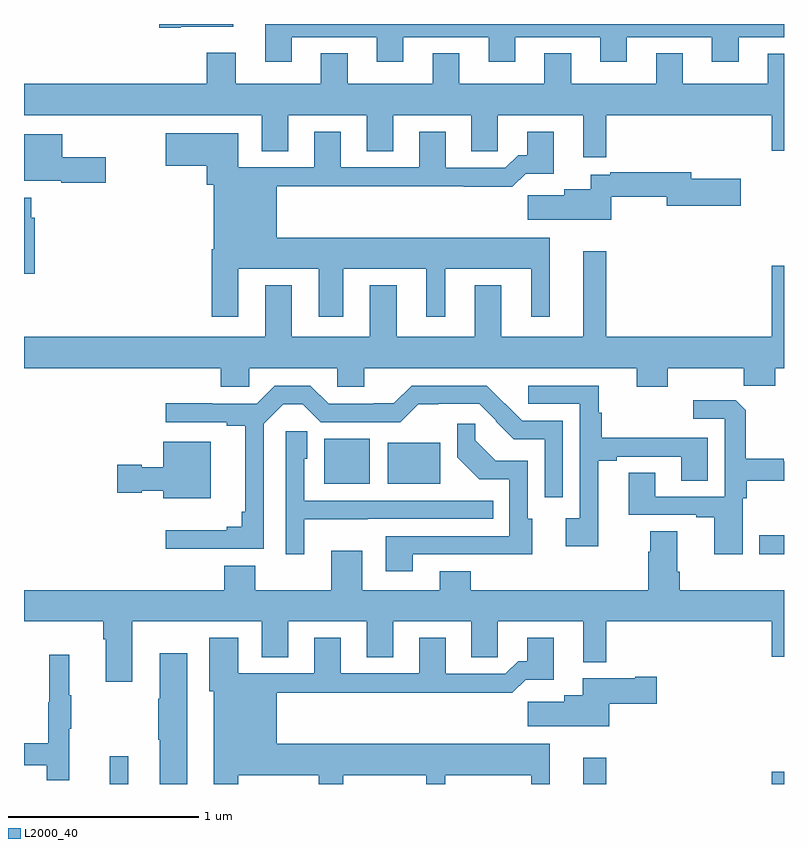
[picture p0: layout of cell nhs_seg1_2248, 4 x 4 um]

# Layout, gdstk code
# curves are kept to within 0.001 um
import gdstk
lib = gdstk.Library(unit=1e-6, precision=1e-09)
def R(c, l, rs):  # rectangles x0, y0, x1, y1
    for r in rs: c.add(gdstk.rectangle(r[:2], r[2:], *l))
def P(c, l, *ps):  # polygons
    for p in ps: c.add(gdstk.Polygon(p, *l))
L2000_40 = (2000, 40)

nhs_seg1_2248 = lib.new_cell('nhs_seg1_2248')
R(nhs_seg1_2248, L2000_40, [(233.451,560.199,233.548,560.344), (235.943,560.199,236.065,560.338), (236.936,560.199,237,560.263), (236.871,561.407,237,561.509), (234.581,561.779,234.82,562.015), (234.914,561.779,235.192,561.994)])
P(nhs_seg1_2248, L2000_40, [(233.824,564.185),(234.1,564.185),(234.1,564.199),(233.712,564.199),(233.712,564.178),(233.824,564.178)],
  [(234.409,564.129),(234.857,564.129),(234.857,564),(234.997,564),(234.997,564.129),(235.445,564.129),(235.445,564),(235.585,564),(235.585,564.129),(236.033,564.129),(236.033,564),(236.173,564),(236.173,564.129),(236.621,564.129),(236.621,564),(236.761,564),(236.761,564.128),(237,564.128),(237,564.199),(234.269,564.199),(234.269,564),(234.409,564)],
  [(236.065,563.72),(236.936,563.72),(236.936,563.532),(237,563.532),(237,564.043),(236.915,564.043),(236.915,563.884),(236.467,563.884),(236.467,564.044),(236.327,564.044),(236.327,563.884),(235.879,563.884),(235.879,564.044),(235.739,564.044),(235.739,563.884),(235.291,563.884),(235.291,564.044),(235.151,564.044),(235.151,563.884),(234.703,563.884),(234.703,564.044),(234.563,564.044),(234.563,563.884),(234.115,563.884),(234.115,564.049),(233.963,564.049),(233.963,563.884),(233,563.884),(233,563.72),(234.251,563.72),(234.251,563.53),(234.391,563.53),(234.391,563.72),(234.803,563.72),(234.803,563.53),(234.943,563.53),(234.943,563.72),(235.355,563.72),(235.355,563.53),(235.494,563.53),(235.494,563.72),(235.943,563.72),(235.943,563.499),(236.065,563.499)],
  [(234.127,562.91),(234.551,562.91),(234.551,562.659),(234.679,562.659),(234.679,562.91),(235.118,562.91),(235.118,562.659),(235.216,562.659),(235.216,562.91),(235.67,562.91),(235.67,562.659),(235.768,562.659),(235.768,563.074),(234.331,563.074),(234.331,563.344),(235.315,563.344),(235.315,563.342),(235.571,563.342),(235.64,563.411),(235.789,563.411),(235.789,563.632),(235.649,563.632),(235.649,563.509),(235.6,563.509),(235.533,563.442),(235.219,563.442),(235.219,563.632),(235.079,563.632),(235.079,563.445),(234.667,563.445),(234.667,563.632),(234.527,563.632),(234.527,563.445),(234.127,563.445),(234.127,563.623),(233.745,563.623),(233.745,563.453),(233.963,563.453),(233.963,563.352),(233.999,563.352),(233.999,563.014),(233.987,563.014),(233.987,562.659),(234.127,562.659)],
  [(233.431,563.497),(233.2,563.497),(233.2,563.62),(233,563.62),(233,563.375),(233.196,563.375),(233.196,563.363),(233.431,563.363)],
  [(236.092,563.29),(236.384,563.29),(236.384,563.243),(236.773,563.243),(236.773,563.385),(236.512,563.385),(236.512,563.419),(236.086,563.419),(236.086,563.406),(235.982,563.406),(235.982,563.329),(235.844,563.329),(235.844,563.297),(235.65,563.297),(235.65,563.168),(236.092,563.168)],
  [(233.057,563.18),(233.037,563.18),(233.037,563.284),(233,563.284),(233,562.884),(233.057,562.884)],
  [(236.389,562.388),(236.789,562.388),(236.789,562.295),(236.953,562.295),(236.953,562.388),(237,562.388),(237,562.927),(236.936,562.927),(236.936,562.552),(236.065,562.552),(236.065,563.002),(235.943,563.002),(235.943,562.552),(235.513,562.552),(235.513,562.825),(235.373,562.825),(235.373,562.552),(234.961,562.552),(234.961,562.825),(234.821,562.825),(234.821,562.552),(234.409,562.552),(234.409,562.825),(234.269,562.825),(234.269,562.552),(233,562.552),(233,562.388),(234.035,562.388),(234.035,562.29),(234.186,562.29),(234.186,562.388),(234.648,562.388),(234.648,562.29),(234.79,562.29),(234.79,562.388),(236.225,562.388),(236.225,562.289),(236.389,562.289)],
  [(233.957,561.438),(234.261,561.438),(234.261,562.095),(234.365,562.199),(234.466,562.199),(234.561,562.104),(234.981,562.104),(235.076,562.199),(235.395,562.2),(235.485,562.11),(235.483,562.108),(235.577,562.014),(235.74,562.014),(235.74,561.708),(235.836,561.708),(235.836,562.11),(235.623,562.11),(235.435,562.296),(235.041,562.296),(234.947,562.202),(234.842,562.202),(234.842,562.2),(234.603,562.2),(234.507,562.296),(234.32,562.296),(234.224,562.2),(233.991,562.2),(233.991,562.202),(233.745,562.202),(233.745,562.104),(234.068,562.104),(234.068,562.084),(234.164,562.084),(234.164,561.631),(234.145,561.631),(234.145,561.554),(234.068,561.554),(234.068,561.535),(233.745,561.535),(233.745,561.437)],
  [(236.023,561.901),(236.119,561.901),(236.119,561.921),(236.459,561.921),(236.459,561.796),(236.599,561.796),(236.599,562.022),(236.042,562.022),(236.042,562.154),(236.024,562.154),(236.024,562.296),(235.653,562.296),(235.653,562.2),(235.926,562.2),(235.926,561.598),(235.851,561.598),(235.851,561.45),(236.023,561.45)],
  [(236.784,561.704),(236.804,561.704),(236.804,561.796),(237,561.796),(237,561.897),(236.999,561.91),(236.799,561.91),(236.799,562.167),(236.747,562.219),(236.523,562.219),(236.523,562.122),(236.688,562.122),(236.688,561.711),(236.323,561.711),(236.323,561.836),(236.183,561.836),(236.183,561.615),(236.537,561.615),(236.537,561.603),(236.633,561.603),(236.633,561.408),(236.784,561.408)],
  [(235.045,561.408),(235.675,561.407),(235.675,561.594),(235.65,561.594),(235.65,561.9),(235.484,561.9),(235.376,562.008),(235.376,562.096),(235.281,562.096),(235.281,561.92),(235.397,561.804),(235.554,561.804),(235.554,561.504),(234.905,561.504),(234.905,561.318),(235.045,561.318)],
  [(234.475,561.593),(234.809,561.593),(234.809,561.594),(235.469,561.594),(235.469,561.69),(234.474,561.69),(234.474,561.912),(234.49,561.912),(234.49,562.055),(234.378,562.055),(234.378,561.408),(234.475,561.408)],
  [(233.983,562),(233.732,562),(233.732,561.865),(233.619,561.865),(233.619,561.878),(233.49,561.878),(233.49,561.731),(233.619,561.731),(233.619,561.743),(233.732,561.743),(233.732,561.704),(233.983,561.704)],
  [(233.569,561.056),(234.251,561.056),(234.251,560.866),(234.391,560.866),(234.391,561.056),(234.803,561.056),(234.803,560.866),(234.943,560.866),(234.943,561.056),(235.355,561.056),(235.355,560.866),(235.494,560.866),(235.494,561.056),(235.943,561.056),(235.943,560.84),(236.065,560.84),(236.065,561.056),(236.936,561.056),(236.936,560.868),(237,560.868),(237,561.22),(236.45,561.22),(236.45,561.316),(236.437,561.316),(236.437,561.53),(236.297,561.53),(236.297,561.422),(236.285,561.422),(236.285,561.22),(235.351,561.22),(235.351,561.319),(235.187,561.319),(235.187,561.22),(234.781,561.22),(234.781,561.427),(234.617,561.427),(234.617,561.22),(234.217,561.22),(234.217,561.349),(234.053,561.349),(234.053,561.22),(233,561.22),(233,561.056),(233.417,561.056),(233.417,560.96),(233.429,560.96),(233.429,560.736),(233.569,560.736)],
  [(234.127,560.246),(234.551,560.246),(234.551,560.199),(234.679,560.199),(234.679,560.246),(235.118,560.246),(235.118,560.199),(235.216,560.199),(235.216,560.246),(235.67,560.246),(235.67,560.199),(235.768,560.199),(235.768,560.41),(234.331,560.41),(234.331,560.68),(235.315,560.68),(235.315,560.678),(235.571,560.678),(235.64,560.747),(235.789,560.747),(235.789,560.968),(235.649,560.968),(235.649,560.845),(235.6,560.845),(235.533,560.778),(235.219,560.778),(235.219,560.968),(235.079,560.968),(235.079,560.781),(234.667,560.781),(234.667,560.968),(234.527,560.968),(234.527,560.781),(234.127,560.781),(234.127,560.968),(233.975,560.968),(233.975,560.688),(233.999,560.688),(233.999,560.199),(234.127,560.199)],
  [(233.86,560.887),(233.714,560.887),(233.714,560.648),(233.707,560.648),(233.707,560.431),(233.714,560.431),(233.714,560.199),(233.86,560.199)],
  [(233.237,560.491),(233.248,560.491),(233.248,560.665),(233.237,560.665),(233.237,560.878),(233.134,560.878),(233.134,560.628),(233.127,560.628),(233.127,560.414),(233,560.414),(233,560.298),(233.119,560.298),(233.119,560.22),(233.237,560.22)],
  [(236.08,560.621),(236.329,560.621),(236.329,560.763),(236.216,560.763),(236.216,560.755),(235.94,560.755),(235.94,560.665),(235.844,560.665),(235.844,560.633),(235.65,560.633),(235.65,560.504),(236.08,560.504)])

lib.write_gds('nhs_seg1_2248.gds')
